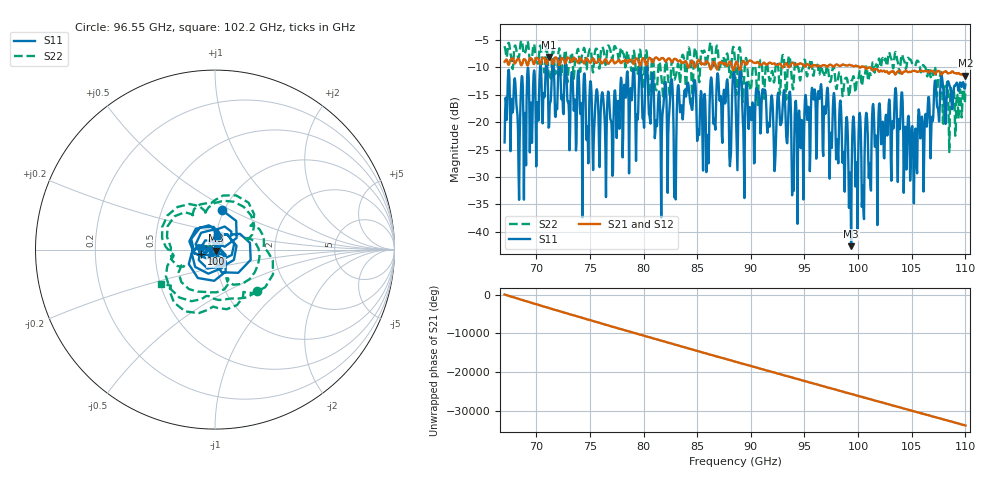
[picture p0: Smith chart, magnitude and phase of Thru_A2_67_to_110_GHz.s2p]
#  HZ  S  MA  R  50.00
! Rohde & Schwarz ZVA67 4Ports - Version 4.11 - 1305.7002k04 SN: 101051
! Date: 2023-09-13 17:17:04
! Measurements: S11 S21 S12 S22
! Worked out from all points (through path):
!   860 points, 67.05 GHz to 110 GHz, reference 50 ohm
!   highest |S21| = -8.08 dB at 71.2 GHz (marker M1); lowest = -11.5 dB at 110 GHz (marker M2)
!   lowest |S11| = -42.6 dB at 99.35 GHz (marker M3), VSWR 1.01, Z = 50.5 - j0.516 ohm
!   |S11| at or under -10 dB: start of sweep to 70.35 GHz; 72.78 GHz to 79.64 GHz (6.859 GHz wide, 9 % of centre); 80.35 GHz to end of sweep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
!   |S22| runs from -25.5 to -5.1 dB; largest |S21 - S12| = 0.047
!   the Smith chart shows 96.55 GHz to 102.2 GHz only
!   S11 on the Smith chart (normalised r, x): 96.55 GHz: 0.98, +0.45; 100 GHz: 0.85, -0.05; 102.2 GHz: 1.01, +0.15
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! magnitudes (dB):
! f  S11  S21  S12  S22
! 67.05 GHz  -23.7  -9.0  -8.9  -6.1
! 67.35 GHz  -12.3  -9.2  -9.2  -6.2
! 68.35 GHz  -29.1  -8.4  -8.4  -8.4
! 71.2 GHz  -20.8  -8.1  -8.1  -11.4
! 74.25 GHz  -20.4  -8.6  -8.6  -7.9
! 81.4 GHz  -14.8  -8.6  -8.5  -9.6
! 82.55 GHz  -12.8  -8.8  -8.7  -10.9
! 82.95 GHz  -32.0  -8.4  -8.4  -11.9
! 84 GHz  -14.7  -9.0  -9.0  -13.1
! 85.95 GHz  -22.3  -9.0  -9.0  -8.6
! 87 GHz  -12.9  -9.5  -9.5  -8.9
! 88.55 GHz  -14.0  -9.4  -9.4  -10.5
! 93.05 GHz  -14.5  -9.9  -9.9  -8.0
! 93.95 GHz  -29.9  -9.1  -9.1  -14.0
! 95.7 GHz  -13.7  -9.9  -9.8  -9.4
! 96.55 GHz  -13.0  -9.8  -9.8  -9.6
! 99.35 GHz  -42.6  -9.6  -9.6  -12.5
! 100 GHz  -21.7  -9.8  -9.8  -11.9
! 102.2 GHz  -22.3  -10.6  -10.6  -9.0
! 102.8 GHz  -16.7  -11.1  -11.1  -7.3
! 105.3 GHz  -21.2  -10.6  -10.7  -9.6
! 110 GHz  -13.1  -11.5  -11.5  -14.2
